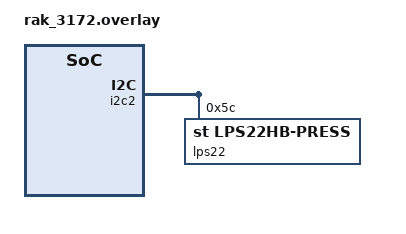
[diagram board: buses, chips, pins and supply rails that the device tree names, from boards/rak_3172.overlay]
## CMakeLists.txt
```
# SPDX-License-Identifier: Apache-2.0

cmake_minimum_required(VERSION 3.20.0)

find_package(Zephyr REQUIRED HINTS $ENV{ZEPHYR_BASE})
project(lps22hb)

target_sources(app PRIVATE src/main.c)
```

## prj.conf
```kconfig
# Enable i2c & sensor driver
CONFIG_I2C=y
CONFIG_SENSOR=y

# Console option
CONFIG_STDOUT_CONSOLE=y
CONFIG_CBPRINTF_FP_SUPPORT=y
```

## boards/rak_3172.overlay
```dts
&i2c2 {
    lps22: lps22hb@5c {
        compatible = "st,lps22hb-press";
        reg = <0x5c>;
    };
};
```

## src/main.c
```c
#include <stdio.h>
#include <zephyr/device.h>
#include <zephyr/drivers/sensor.h>
#include <zephyr/kernel.h>

const struct device *dev = DEVICE_DT_GET(DT_NODELABEL(lps22));

int main(void)
{
	int rc;

	if (!device_is_ready(dev)) {
		printf("Device %s is not ready\n", dev->name);
		return 0;
	}

	while (true) {
		struct sensor_value temp, press;
		rc = sensor_sample_fetch(dev);

		/*get temp & pressure*/
		if (rc == 0) {
			rc = sensor_channel_get(dev, SENSOR_CHAN_AMBIENT_TEMP, &temp);
		}
		if (rc == 0) {
			rc = sensor_channel_get(dev, SENSOR_CHAN_PRESS, &press);
		}
		/*get temp & pressure*/

		/*error handle*/
		if (rc != 0) {
			printf("Device %s error, code: %d", dev->name, rc);
			break;
		}

		printf("Temperature: %.1f °C\n", sensor_value_to_double(&temp));
		printf("Pressure: %1.f kPa\n", sensor_value_to_double(&press));

		k_msleep(2000);
	}
}
```
